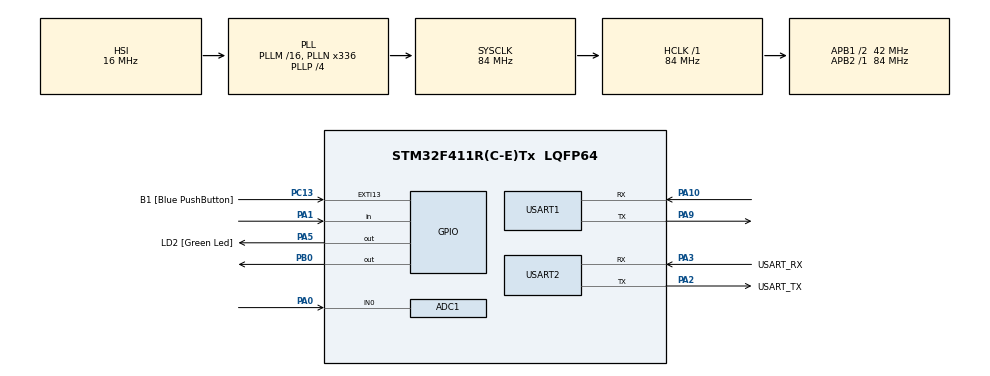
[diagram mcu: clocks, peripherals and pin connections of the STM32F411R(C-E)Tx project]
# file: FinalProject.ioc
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ADC1.Channel-0\#ChannelRegularConversion=ADC_CHANNEL_0
ADC1.NbrOfConversionFlag=1
ADC1.Rank-0\#ChannelRegularConversion=1
ADC1.SamplingTime-0\#ChannelRegularConversion=ADC_SAMPLETIME_3CYCLES
ADC1.master=1
Mcu.Family=STM32F4
Mcu.Name=STM32F411R(C-E)Tx
Mcu.Package=LQFP64
NVIC.PriorityGroup=NVIC_PRIORITYGROUP_0
PA0-WKUP.Signal=ADCx_IN0
PA1.Signal=GPIO_Input
PA10.Mode=Asynchronous
PA10.Signal=USART1_RX
PA13.GPIO_Label=TMS
PA13.Mode=Serial_Wire
PA13.Signal=SYS_JTMS-SWDIO
PA14.GPIO_Label=TCK
PA14.Mode=Serial_Wire
PA14.Signal=SYS_JTCK-SWCLK
PA2.GPIO_Label=USART_TX
PA2.Mode=Asynchronous
PA2.Signal=USART2_TX
PA3.GPIO_Label=USART_RX
PA3.Mode=Asynchronous
PA3.Signal=USART2_RX
PA5.GPIO_Label=LD2 [Green Led]
PA5.Signal=GPIO_Output
PA9.Mode=Asynchronous
PA9.Signal=USART1_TX
PB0.Signal=GPIO_Output
PB3.GPIO_Label=SWO
PB3.Signal=SYS_JTDO-SWO
PC13-ANTI_TAMP.GPIO_Label=B1 [Blue PushButton]
PC13-ANTI_TAMP.GPIO_ModeDefaultEXTI=GPIO_MODE_IT_FALLING
PC13-ANTI_TAMP.Signal=GPXTI13
PC14-OSC32_IN.Mode=LSE-External-Oscillator
PC14-OSC32_IN.Signal=RCC_OSC32_IN
PC15-OSC32_OUT.Mode=LSE-External-Oscillator
PC15-OSC32_OUT.Signal=RCC_OSC32_OUT
PH0\ -\ OSC_IN.Mode=HSE-External-Clock-Source
PH0\ -\ OSC_IN.Signal=RCC_OSC_IN
PH1\ -\ OSC_OUT.Mode=HSE-External-Clock-Source
PH1\ -\ OSC_OUT.Signal=RCC_OSC_OUT
ProjectManager.HeapSize=0x200
ProjectManager.StackSize=0x400
ProjectManager.TargetToolchain=STM32CubeIDE
RCC.48MHZClocksFreq_Value=84000000
RCC.AHBFreq_Value=84000000
RCC.APB1CLKDivider=RCC_HCLK_DIV2
RCC.APB1Freq_Value=42000000
RCC.APB1TimFreq_Value=84000000
RCC.APB2Freq_Value=84000000
RCC.APB2TimFreq_Value=84000000
RCC.CortexFreq_Value=84000000
RCC.FLatency-AdvancedSettings=FLASH_LATENCY_2
RCC.HCLKFreq_Value=84000000
RCC.HSE_VALUE=8000000
RCC.HSI_VALUE=16000000
RCC.PLLN=336
RCC.PLLP=RCC_PLLP_DIV4
RCC.SYSCLKFreq_VALUE=84000000
RCC.SYSCLKSource=RCC_SYSCLKSOURCE_PLLCLK
RCC.VCOOutputFreq_Value=336000000
SH.ADCx_IN0.0=ADC1_IN0,IN0
TIM2.Period=0xFFFF
TIM2.Prescaler=83
USART1.VirtualMode=VM_ASYNC
USART2.VirtualMode=VM_ASYNC
VP_TIM2_VS_ClockSourceINT.Mode=Internal
board=NUCLEO-F411RE

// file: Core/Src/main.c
/* USER CODE BEGIN Header */
/**
  ******************************************************************************
  * @file           : main.c
  * @brief          : Main program body
  ******************************************************************************
  * @attention
  *
  * Copyright (c) 2025 STMicroelectronics.
  * All rights reserved.
  *
  * This software is licensed under terms that can be found in the LICENSE file
  * in the root directory of this software component.
  * If no LICENSE file comes with this software, it is provided AS-IS.
  *
  ******************************************************************************
  */
/* USER CODE END Header */
#include "main.h"

ADC_HandleTypeDef hadc1;

TIM_HandleTypeDef htim2;

UART_HandleTypeDef huart1;
UART_HandleTypeDef huart2;

void SystemClock_Config(void);
static void MX_GPIO_Init(void);
static void MX_USART2_UART_Init(void);
static void MX_ADC1_Init(void);
static void MX_TIM2_Init(void);
static void MX_USART1_UART_Init(void);
/* USER CODE BEGIN PFP */

// ฟังก์ชันที่ใช้กับ DHT
void delay_us(uint16_t us);
void DHT_SetPinOutput(void);
void DHT_SetPinInput(void);
uint8_t DHT_Read(float *temperature, float *humidity);

/* USER CODE END PFP */

int main(void)
{

  /* MCU Configuration--------------------------------------------------------*/

  /* Reset of all peripherals, Initializes the Flash interface and the Systick. */
  HAL_Init();

  /* Configure the system clock */
  SystemClock_Config();

  /* Initialize all configured peripherals */
  MX_GPIO_Init();
  MX_USART2_UART_Init();
  MX_ADC1_Init();
  MX_TIM2_Init();
  MX_USART1_UART_Init();
  /* USER CODE BEGIN 2 */
  // เริ่ม Timer2
  HAL_TIM_Base_Start(&htim2);
  /* USER CODE END 2 */

  /* Infinite loop */
  /* USER CODE BEGIN WHILE */
  while (1)
  {
    /* ---------- อ่านค่า LDR ที่ PA0 ---------- */
    uint32_t adc_val = 0;

    HAL_ADC_Start(&hadc1);
    if (HAL_ADC_PollForConversion(&hadc1, 10) == HAL_OK)
    {
      adc_val = HAL_ADC_GetValue(&hadc1); // 0 - 4095
    }
    HAL_ADC_Stop(&hadc1);

    uint32_t lux_raw = adc_val;

    /* ---------- อ่านค่า Temperature / Humidity จาก DHT ที่ PA1 ---------- */
    float temperature = 0.0f;
    float humidity    = 0.0f;

    uint8_t dht_ok = DHT_Read(&temperature, &humidity);  // 1 = success, 0 = fail

    // แปลงเป็น x10 เพื่อเลี่ยงใช้ %f ใน printf
    int t10 = (int)(temperature * 10);
    int h10 = (int)(humidity * 10);

    /* ---------- Logic Alert จาก LDR ---------- */
    uint8_t  alert    = 0;
    uint32_t dark_thr = 2000;   // ปรับตามค่าที่วัดจริง

    if (lux_raw < dark_thr || temperature > 40 || humidity > 80)
    {
      alert = 1;
      HAL_GPIO_WritePin(GPIOB, GPIO_PIN_0, GPIO_PIN_RESET);   // เปิด buzzer ตอนมืด
    }
    else
    {
      alert = 0;
      HAL_GPIO_WritePin(GPIOB, GPIO_PIN_0, GPIO_PIN_SET);     // ปิด buzzer ตอนสว่างพอ
    }

    /* ---------- ส่งค่าออก UART2 เป็น JSON บรรทัดเดียว ---------- */
    char esp_buf[96];
        int len;

        if (dht_ok)
        {
          len = snprintf(esp_buf, sizeof(esp_buf),
                         "{\"t\":%d.%d,\"h\":%d.%d,\"ldr\":%lu,\"alert\":%d}\r\n",
                         t10/10, t10%10,
                         h10/10, h10%10,
                         lux_raw, alert);
        }
        else
        {
          len = snprintf(esp_buf, sizeof(esp_buf),
                         "{\"error\":\"dht\",\"ldr\":%lu,\"alert\":%d}\r\n",
                         lux_raw, alert);
        }

        HAL_UART_Transmit(&huart1, (uint8_t*)esp_buf, len, HAL_MAX_DELAY);
        HAL_UART_Transmit(&huart2, (uint8_t*)esp_buf, len, HAL_MAX_DELAY);
        HAL_Delay(1000);

    /* USER CODE END WHILE */

  }
}

void SystemClock_Config(void)
{
  RCC_OscInitTypeDef RCC_OscInitStruct = {0};
  RCC_ClkInitTypeDef RCC_ClkInitStruct = {0};

  /** Configure the main internal regulator output voltage
  */
  __HAL_RCC_PWR_CLK_ENABLE();
  __HAL_PWR_VOLTAGESCALING_CONFIG(PWR_REGULATOR_VOLTAGE_SCALE1);

  /** Initializes the RCC Oscillators according to the specified parameters
  * in the RCC_OscInitTypeDef structure.
  */
  RCC_OscInitStruct.OscillatorType = RCC_OSCILLATORTYPE_HSI;
  RCC_OscInitStruct.HSIState = RCC_HSI_ON;
  RCC_OscInitStruct.HSICalibrationValue = RCC_HSICALIBRATION_DEFAULT;
  RCC_OscInitStruct.PLL.PLLState = RCC_PLL_ON;
  RCC_OscInitStruct.PLL.PLLSource = RCC_PLLSOURCE_HSI;
  RCC_OscInitStruct.PLL.PLLM = 16;
  RCC_OscInitStruct.PLL.PLLN = 336;
  RCC_OscInitStruct.PLL.PLLP = RCC_PLLP_DIV4;
  RCC_OscInitStruct.PLL.PLLQ = 4;
  if (HAL_RCC_OscConfig(&RCC_OscInitStruct) != HAL_OK)
  {
    Error_Handler();
  }

  /** Initializes the CPU, AHB and APB buses clocks
  */
  RCC_ClkInitStruct.ClockType = RCC_CLOCKTYPE_HCLK|RCC_CLOCKTYPE_SYSCLK
                              |RCC_CLOCKTYPE_PCLK1|RCC_CLOCKTYPE_PCLK2;
  RCC_ClkInitStruct.SYSCLKSource = RCC_SYSCLKSOURCE_PLLCLK;
  RCC_ClkInitStruct.AHBCLKDivider = RCC_SYSCLK_DIV1;
  RCC_ClkInitStruct.APB1CLKDivider = RCC_HCLK_DIV2;
  RCC_ClkInitStruct.APB2CLKDivider = RCC_HCLK_DIV1;

  if (HAL_RCC_ClockConfig(&RCC_ClkInitStruct, FLASH_LATENCY_2) != HAL_OK)
  {
    Error_Handler();
  }
}

static void MX_ADC1_Init(void)
{

  ADC_ChannelConfTypeDef sConfig = {0};

  /** Configure the global features of the ADC (Clock, Resolution, Data Alignment and number of conversion)
  */
  hadc1.Instance = ADC1;
  hadc1.Init.ClockPrescaler = ADC_CLOCK_SYNC_PCLK_DIV4;
  hadc1.Init.Resolution = ADC_RESOLUTION_12B;
  hadc1.Init.ScanConvMode = DISABLE;
  hadc1.Init.ContinuousConvMode = DISABLE;
  hadc1.Init.DiscontinuousConvMode = DISABLE;
  hadc1.Init.ExternalTrigConvEdge = ADC_EXTERNALTRIGCONVEDGE_NONE;
  hadc1.Init.ExternalTrigConv = ADC_SOFTWARE_START;
  hadc1.Init.DataAlign = ADC_DATAALIGN_RIGHT;
  hadc1.Init.NbrOfConversion = 1;
  hadc1.Init.DMAContinuousRequests = DISABLE;
  hadc1.Init.EOCSelection = ADC_EOC_SINGLE_CONV;
  if (HAL_ADC_Init(&hadc1) != HAL_OK)
  {
    Error_Handler();
  }

  /** Configure for the selected ADC regular channel its corresponding rank in the sequencer and its sample time.
  */
  sConfig.Channel = ADC_CHANNEL_0;
  sConfig.Rank = 1;
  sConfig.SamplingTime = ADC_SAMPLETIME_3CYCLES;
  if (HAL_ADC_ConfigChannel(&hadc1, &sConfig) != HAL_OK)
  {
    Error_Handler();
  }

}

static void MX_TIM2_Init(void)
{

  TIM_ClockConfigTypeDef sClockSourceConfig = {0};
  TIM_MasterConfigTypeDef sMasterConfig = {0};

  htim2.Instance = TIM2;
  htim2.Init.Prescaler = 83;
  htim2.Init.CounterMode = TIM_COUNTERMODE_UP;
  htim2.Init.Period = 0xFFFF;
  htim2.Init.ClockDivision = TIM_CLOCKDIVISION_DIV1;
  htim2.Init.AutoReloadPreload = TIM_AUTORELOAD_PRELOAD_DISABLE;
  if (HAL_TIM_Base_Init(&htim2) != HAL_OK)
  {
    Error_Handler();
  }
  sClockSourceConfig.ClockSource = TIM_CLOCKSOURCE_INTERNAL;
  if (HAL_TIM_ConfigClockSource(&htim2, &sClockSourceConfig) != HAL_OK)
  {
    Error_Handler();
  }
  sMasterConfig.MasterOutputTrigger = TIM_TRGO_RESET;
  sMasterConfig.MasterSlaveMode = TIM_MASTERSLAVEMODE_DISABLE;
  if (HAL_TIMEx_MasterConfigSynchronization(&htim2, &sMasterConfig) != HAL_OK)
  {
    Error_Handler();
  }

}

static void MX_USART1_UART_Init(void)
{

  huart1.Instance = USART1;
  huart1.Init.BaudRate = 115200;
  huart1.Init.WordLength = UART_WORDLENGTH_8B;
  huart1.Init.StopBits = UART_STOPBITS_1;
  huart1.Init.Parity = UART_PARITY_NONE;
  huart1.Init.Mode = UART_MODE_TX_RX;
  huart1.Init.HwFlowCtl = UART_HWCONTROL_NONE;
  huart1.Init.OverSampling = UART_OVERSAMPLING_16;
  if (HAL_UART_Init(&huart1) != HAL_OK)
  {
    Error_Handler();
  }

}

static void MX_USART2_UART_Init(void)
{

  huart2.Instance = USART2;
  huart2.Init.BaudRate = 115200;
  huart2.Init.WordLength = UART_WORDLENGTH_8B;
  huart2.Init.StopBits = UART_STOPBITS_1;
  huart2.Init.Parity = UART_PARITY_NONE;
  huart2.Init.Mode = UART_MODE_TX_RX;
  huart2.Init.HwFlowCtl = UART_HWCONTROL_NONE;
  huart2.Init.OverSampling = UART_OVERSAMPLING_16;
  if (HAL_UART_Init(&huart2) != HAL_OK)
  {
    Error_Handler();
  }

}

static void MX_GPIO_Init(void)
{
  GPIO_InitTypeDef GPIO_InitStruct = {0};

  /* GPIO Ports Clock Enable */
  __HAL_RCC_GPIOC_CLK_ENABLE();
  __HAL_RCC_GPIOH_CLK_ENABLE();
  __HAL_RCC_GPIOA_CLK_ENABLE();
  __HAL_RCC_GPIOB_CLK_ENABLE();

  /*Configure GPIO pin Output Level */
  HAL_GPIO_WritePin(LD2_GPIO_Port, LD2_Pin, GPIO_PIN_RESET);

  /*Configure GPIO pin Output Level */
  HAL_GPIO_WritePin(GPIOB, GPIO_PIN_0, GPIO_PIN_RESET);

  /*Configure GPIO pin : B1_Pin */
  GPIO_InitStruct.Pin = B1_Pin;
  GPIO_InitStruct.Mode = GPIO_MODE_IT_FALLING;
  GPIO_InitStruct.Pull = GPIO_NOPULL;
  HAL_GPIO_Init(B1_GPIO_Port, &GPIO_InitStruct);

  /*Configure GPIO pin : PA1 */
  GPIO_InitStruct.Pin = GPIO_PIN_1;
  GPIO_InitStruct.Mode = GPIO_MODE_INPUT;
  GPIO_InitStruct.Pull = GPIO_NOPULL;
  HAL_GPIO_Init(GPIOA, &GPIO_InitStruct);

  /*Configure GPIO pin : LD2_Pin */
  GPIO_InitStruct.Pin = LD2_Pin;
  GPIO_InitStruct.Mode = GPIO_MODE_OUTPUT_PP;
  GPIO_InitStruct.Pull = GPIO_NOPULL;
  GPIO_InitStruct.Speed = GPIO_SPEED_FREQ_LOW;
  HAL_GPIO_Init(LD2_GPIO_Port, &GPIO_InitStruct);

  /*Configure GPIO pin : PB0 */
  GPIO_InitStruct.Pin = GPIO_PIN_0;
  GPIO_InitStruct.Mode = GPIO_MODE_OUTPUT_PP;
  GPIO_InitStruct.Pull = GPIO_NOPULL;
  GPIO_InitStruct.Speed = GPIO_SPEED_FREQ_LOW;
  HAL_GPIO_Init(GPIOB, &GPIO_InitStruct);

}

/* USER CODE BEGIN 4 */

// redirect printf ไป UART2
int _write(int file, char *ptr, int len)
{
  HAL_UART_Transmit(&huart2, (uint8_t*)ptr, len, HAL_MAX_DELAY);
  return len;
}

// delay microsecond ด้วย TIM2
void delay_us(uint16_t us)
{
  __HAL_TIM_SET_COUNTER(&htim2, 0);
  while (__HAL_TIM_GET_COUNTER(&htim2) < us);
}

void DHT_SetPinOutput(void)
{
  GPIO_InitTypeDef GPIO_InitStruct = {0};
  GPIO_InitStruct.Pin = GPIO_PIN_1;
  GPIO_InitStruct.Mode = GPIO_MODE_OUTPUT_PP;
  GPIO_InitStruct.Pull = GPIO_NOPULL;
  GPIO_InitStruct.Speed = GPIO_SPEED_FREQ_LOW;
  HAL_GPIO_Init(GPIOA, &GPIO_InitStruct);
}

void DHT_SetPinInput(void)
{
  GPIO_InitTypeDef GPIO_InitStruct = {0};
  GPIO_InitStruct.Pin = GPIO_PIN_1;
  GPIO_InitStruct.Mode = GPIO_MODE_INPUT;
  GPIO_InitStruct.Pull = GPIO_NOPULL;
  HAL_GPIO_Init(GPIOA, &GPIO_InitStruct);
}

/**
  * @brief  อ่านค่า DHT11 ที่ PA1
  * @retval 1 = success, 0 = fail
  */
uint8_t DHT_Read(float *temperature, float *humidity)
{
  uint8_t data[5] = {0};
  uint32_t timeout = 0;

  // ----- Start signal -----
  DHT_SetPinOutput();
  HAL_GPIO_WritePin(GPIOA, GPIO_PIN_1, GPIO_PIN_RESET);
  HAL_Delay(20);                 // ค้าง low >=18ms
  HAL_GPIO_WritePin(GPIOA, GPIO_PIN_1, GPIO_PIN_SET);
  delay_us(30);                  // ปล่อย high 20-40us
  DHT_SetPinInput();

  // ----- ตอบกลับจากเซนเซอร์ (80us LOW + 80us HIGH) -----
  timeout = 0;
  while (HAL_GPIO_ReadPin(GPIOA, GPIO_PIN_1) == GPIO_PIN_SET)
    if (++timeout > 10000) return 0;

  timeout = 0;
  while (HAL_GPIO_ReadPin(GPIOA, GPIO_PIN_1) == GPIO_PIN_RESET)
    if (++timeout > 10000) return 0;

  timeout = 0;
  while (HAL_GPIO_ReadPin(GPIOA, GPIO_PIN_1) == GPIO_PIN_SET)
    if (++timeout > 10000) return 0;

  // ----- อ่าน 40 บิต (5 bytes) -----
  for (int j = 0; j < 5; j++)
  {
    uint8_t byte = 0;
    for (int i = 0; i < 8; i++)
    {
      // รอช่วง low ~50us
      timeout = 0;
      while (HAL_GPIO_ReadPin(GPIOA, GPIO_PIN_1) == GPIO_PIN_RESET)
        if (++timeout > 10000) return 0;

      // หลังจากขึ้น high รอ 30us แล้วเช็คระดับ
      delay_us(30);
      if (HAL_GPIO_ReadPin(GPIOA, GPIO_PIN_1) == GPIO_PIN_SET)
      {
        byte |= (1 << (7 - i));  // bit = 1
        // รอจนจบพัลส์ high
        timeout = 0;
        while (HAL_GPIO_ReadPin(GPIOA, GPIO_PIN_1) == GPIO_PIN_SET)
          if (++timeout > 10000) return 0;
      }
      else
      {
        // bit = 0
      }
    }
    data[j] = byte;
  }

  // checksum
  if ((uint8_t)(data[0] + data[1] + data[2] + data[3]) != data[4])
    return 0;

  // ----- แปลงข้อมูล -----
  // ถ้าเป็น DHT11:
  *humidity    = data[0] + data[1] / 10.0f;
  *temperature = data[2] + data[3] / 10.0f;

  // ถ้าอันที่คุณใช้จริงเป็น DHT22 ให้เปลี่ยนเป็น:
  // *humidity    = ((data[0] << 8) | data[1]) / 10.0f;
  // *temperature = ((data[2] << 8) | data[3]) / 10.0f;

  return 1;
}

/* USER CODE END 4 */

void Error_Handler(void)
{
  __disable_irq();
  while (1)
  {
  }
}
